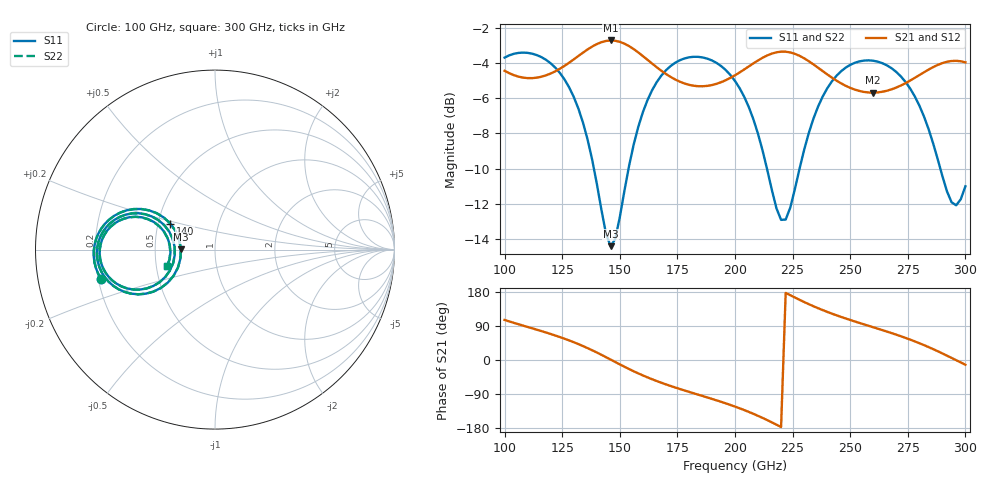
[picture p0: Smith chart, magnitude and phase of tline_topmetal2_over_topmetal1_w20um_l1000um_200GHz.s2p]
#  GHZ S DB R 50
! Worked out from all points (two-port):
!   101 points, 100 GHz to 300 GHz, reference 50 ohm
!   highest |S21| = -2.70 dB at 146 GHz (marker M1); lowest = -5.7 dB at 260 GHz (marker M2)
!   |S21| within 3 dB of the highest: start of sweep to end of sweep
!   lowest |S11| = -14.4 dB at 146 GHz (marker M3), VSWR 1.47, Z = 34 + j0.174 ohm
!   |S11| at or under -10 dB: 138.7 GHz to 153.8 GHz (15.06 GHz wide, 10.3 % of centre); 213.9 GHz to 228 GHz (14.17 GHz wide, 6.41 % of centre); 289.1 GHz to end of sweep
!   |S22| runs from -14.4 to -3.4 dB; largest |S21 - S12| = 0
!   S11 on the Smith chart (normalised r, x): 100 GHz: 0.21, -0.12; 140 GHz: 0.58, +0.18; 300 GHz: 0.57, -0.12
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100  -3.68 -165.4  -4.43 105.6  -4.43 105.6  -3.68 -165.4
116  -3.65 172.4  -4.77 76.3  -4.77 76.3  -3.65 172.4
126  -4.92 158.7  -4.15 56.2  -4.15 56.2  -4.92 158.7
134  -7.37 149.2  -3.40 36.8  -3.40 36.8  -7.37 149.3
140  -10.85 149.8  -2.91 19.8  -2.91 19.8  -10.85 149.9
146  -14.42 179.3  -2.70 1.2  -2.70 1.2  -14.42 179.3
152  -11.27 -147.7  -2.88 -17.7  -2.88 -17.7  -11.27 -147.7
158  -7.63 -145.7  -3.38 -35.3  -3.38 -35.3  -7.63 -145.7
168  -4.71 -157.7  -4.42 -60.0  -4.42 -60.0  -4.71 -157.7
184  -3.64 -178.9  -5.31 -91.4  -5.31 -91.4  -3.63 -178.9
200  -5.01 161.1  -4.69 -122.9  -4.69 -122.9  -5.01 161.1
210  -8.03 152.3  -3.84 -147.4  -3.84 -147.4  -8.03 152.3
220  -12.93 175.9  -3.34 -176.8  -3.34 -176.8  -12.93 176.0
226  -11.17 -155.2  -3.46 164.8  -3.46 164.8  -11.17 -155.2
234  -7.17 -150.4  -4.06 142.0  -4.06 142.0  -7.17 -150.3
248  -4.25 -165.9  -5.28 109.7  -5.28 109.7  -4.25 -165.8
260  -3.86 179.5  -5.68 86.4  -5.68 86.4  -3.85 179.6
268  -4.29 170.1  -5.48 70.9  -5.48 70.9  -4.29 170.1
276  -5.44 161.1  -4.99 53.8  -4.99 53.8  -5.43 161.2
284  -7.75 155.5  -4.36 34.1  -4.36 34.1  -7.73 155.6
294  -11.92 173.9  -3.87 5.5  -3.87 5.5  -11.89 174.0
300  -11.01 -160.8  -3.95 -12.6  -3.95 -12.6  -10.99 -160.9
